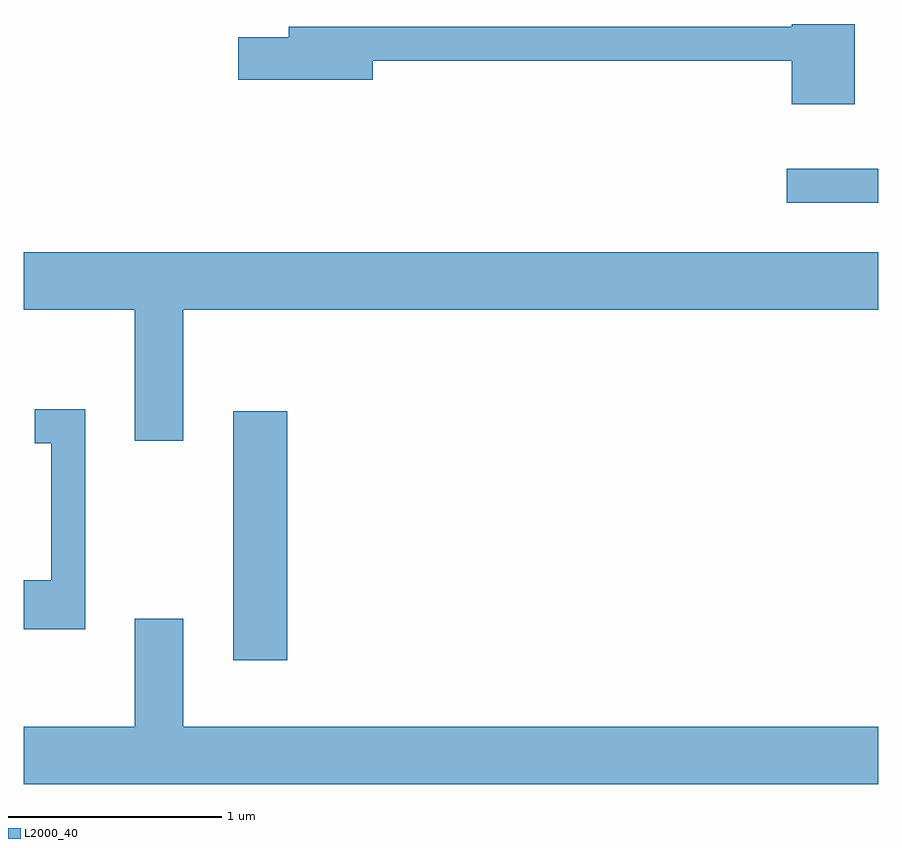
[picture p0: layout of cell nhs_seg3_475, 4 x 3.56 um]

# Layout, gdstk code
import gdstk
lib = gdstk.Library(unit=1e-6, precision=1e-09)
def R(c, l, rs):  # rectangles x0, y0, x1, y1
    for r in rs: c.add(gdstk.rectangle(r[:2], r[2:], *l))
def P(c, l, *ps):  # polygons
    for p in ps: c.add(gdstk.Polygon(p, *l))
L2000_40 = (2000, 40)

nhs_seg3_475 = lib.new_cell('nhs_seg3_475')
R(nhs_seg3_475, L2000_40, [(198.591,1250.916,198.844,1252.079), (201.183,1253.056,201.611,1253.214)])
P(nhs_seg3_475, L2000_40, [(201.499,1253.892),(201.206,1253.892),(201.206,1253.879),(198.851,1253.879),(198.851,1253.829),(198.616,1253.829),(198.616,1253.631),(199.244,1253.631),(199.244,1253.721),(201.206,1253.721),(201.206,1253.516),(201.499,1253.516)],
  [(198.359,1252.556),(201.611,1252.556),(201.611,1252.824),(197.611,1252.824),(197.611,1252.556),(198.131,1252.556),(198.131,1251.941),(198.359,1251.941)],
  [(197.899,1252.089),(197.663,1252.089),(197.663,1251.931),(197.741,1251.931),(197.741,1251.289),(197.611,1251.289),(197.611,1251.061),(197.899,1251.061)],
  [(201.611,1250.604),(198.359,1250.604),(198.359,1251.109),(198.131,1251.109),(198.131,1250.604),(197.611,1250.604),(197.611,1250.336),(201.611,1250.336)])

lib.write_gds('nhs_seg3_475.gds')
